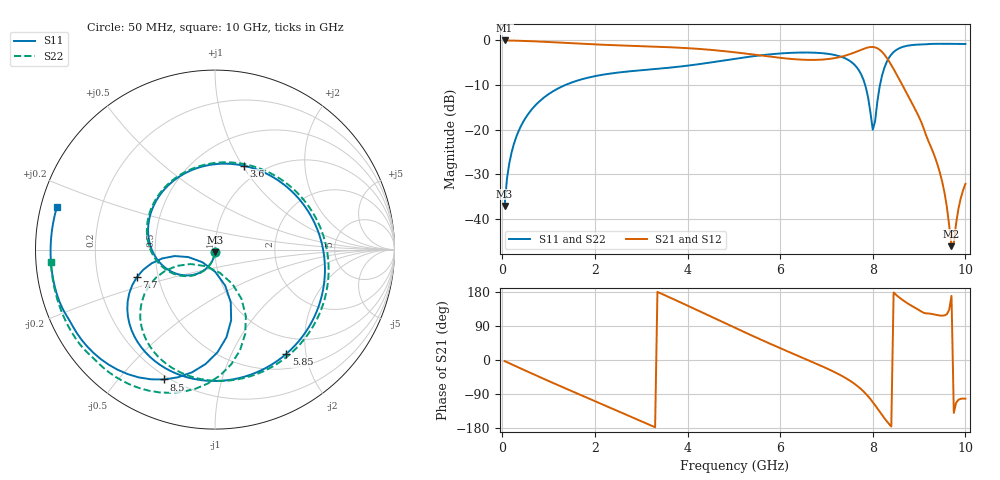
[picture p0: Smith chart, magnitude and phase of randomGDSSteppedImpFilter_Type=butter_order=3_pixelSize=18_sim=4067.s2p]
! freq	dB(S11)	phase(S11)	dB(S12)	phase(S12)
!  dB(S21)	phase(S21)	dB(S22)	phase(S22)
!S-par simulation data
#  GHz  S  DB  R 50
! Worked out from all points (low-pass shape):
!   200 points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, 50 MHz to 10 GHz, reference 50 ohm
!   highest |S21| = 0.00 dB at 50 MHz (marker M1); lowest = -46.2 dB at 9.7 GHz (marker M2)
!   |S21| within 3 dB of the highest: start of sweep to 5.296 GHz; 7.527 GHz to 8.236 GHz (709.5 MHz wide, 9 % of centre)
!   lowest |S11| = -37.2 dB at 50 MHz (marker M3), VSWR 1.03, Z = 49.9 - j1.38 ohm
!   |S11| at or under -10 dB: start of sweep to 1.364 GHz; 7.835 GHz to 8.156 GHz (321.1 MHz wide, 4.02 % of centre)
!   |S22| runs from -37.2 to -0.7 dB; largest |S21 - S12| = 0
!   S11 on the Smith chart (normalised r, x): 50 MHz: 1.00, -0.03; 3.6 GHz: 0.82, +1.01; 5.85 GHz: 0.72, -1.66; 7.7 GHz: 0.38, -0.15; 8.5 GHz: 0.18, -0.67; 10 GHz: 0.05, +0.13
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0.05  -37.17 -92.7  -0.00 -2.8  -0.00 -2.8  -37.17 -92.6
0.2  -25.18 -101.7  -0.03 -11.3  -0.03 -11.3  -25.17 -101.3
0.5  -17.44 -119.0  -0.12 -28.0  -0.12 -28.0  -17.44 -118.1
1.15  -11.09 -155.2  -0.43 -63.5  -0.43 -63.5  -11.09 -153.1
1.75  -8.63 172.3  -0.76 -95.3  -0.76 -95.3  -8.63 175.7
2.65  -7.04 123.9  -1.16 -142.5  -1.16 -142.5  -7.04 129.6
3.4  -6.32 82.5  -1.43 177.0  -1.43 177.0  -6.32 90.2
3.6  -6.13 71.2  -1.52 166.0  -1.52 166.0  -6.13 79.4
4.35  -5.17 28.3  -1.98 123.6  -1.98 123.6  -5.17 38.0
5.05  -4.08 -11.7  -2.69 83.6  -2.69 83.6  -4.07 -1.5
5.85  -3.05 -55.6  -3.73 39.3  -3.73 39.3  -3.04 -45.2
6.7  -2.74 -99.8  -4.37 -5.4  -4.37 -5.4  -2.71 -88.9
7.7  -6.70 -160.5  -2.31 -71.9  -2.31 -71.9  -6.67 -147.8
7.85  -10.51 -170.5  -1.71 -89.2  -1.71 -89.2  -10.45 -157.0
8  -20.05 -135.1  -1.47 -111.1  -1.47 -111.1  -19.42 -120.6
8.2  -7.88 -77.1  -2.57 -145.1  -2.57 -145.1  -7.76 -65.1
8.35  -3.88 -94.7  -4.66 -168.7  -4.66 -168.7  -3.80 -81.9
8.5  -2.19 -111.4  -7.35 172.4  -7.35 172.4  -2.12 -98.0
8.9  -0.98 -142.8  -15.15 138.7  -15.15 138.7  -0.92 -128.0
9.4  -0.76 -168.8  -27.96 118.2  -27.96 118.2  -0.70 -152.2
9.7  -0.77 177.6  -46.19 169.2  -46.19 169.2  -0.72 -164.4
10  -0.80 164.8  -32.21 -102.1  -32.21 -102.1  -0.76 -175.7
